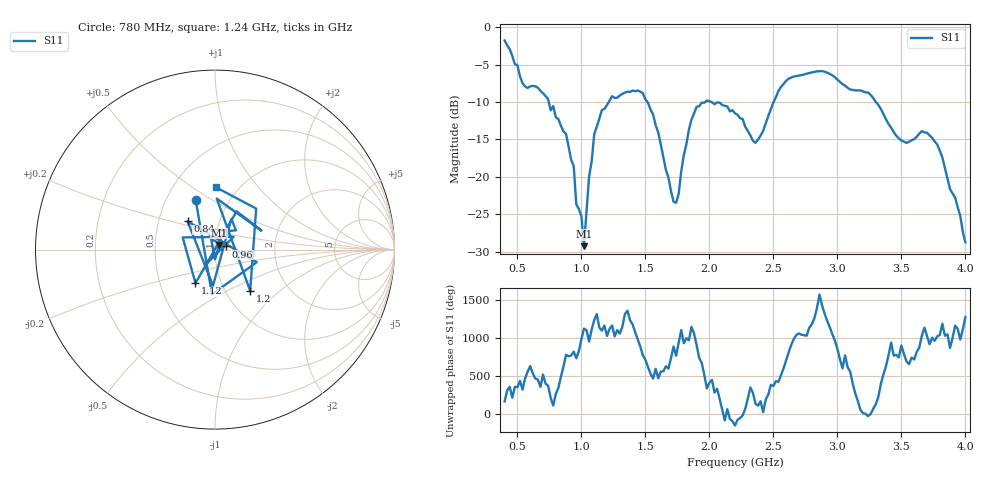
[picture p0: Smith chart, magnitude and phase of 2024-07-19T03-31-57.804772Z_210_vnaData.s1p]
!Created with skrf (http://scikit-rf.org).
# Hz S RI R 50.0
!freq ReS11 ImS11
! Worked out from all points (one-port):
!   181 points, 400 MHz to 4 GHz, reference 50 ohm
!   lowest |S11| = -29.3 dB at 1.02 GHz (marker M1), VSWR 1.07, Z = 52.3 + j2.67 ohm
!   |S11| at or under -10 dB: 744.9 MHz to 1.213 GHz (468.2 MHz wide, 47.8 % of centre); 2.015 GHz to 2.502 GHz (486.5 MHz wide, 21.5 % of centre); 3.301 GHz to end of sweep (the widest 3 of 4)
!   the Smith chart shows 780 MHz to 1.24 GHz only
!   S11 on the Smith chart (normalised r, x): 780 MHz: 0.70, +0.42; 840 MHz: 0.70, +0.23; 960 MHz: 1.13, +0.04; 1.12 GHz: 0.75, -0.30; 1.2 GHz: 1.30, -0.66; 1.24 GHz: 0.80, +0.63
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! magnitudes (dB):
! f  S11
! 400 MHz  -1.8
! 540 MHz  -7.5
! 780 MHz  -10.5
! 840 MHz  -13.2
! 860 MHz  -13.9
! 940 MHz  -18.6
! 960 MHz  -23.7
! 1 GHz  -25.3
! 1.02 GHz  -29.3
! 1.06 GHz  -20.0
! 1.12 GHz  -13.3
! 1.2 GHz  -10.4
! 1.24 GHz  -9.2
! 1.3 GHz  -9.1
! 1.48 GHz  -8.8
! 1.6 GHz  -14.1
! 1.72 GHz  -23.3
! 1.76 GHz  -22.3
! 1.84 GHz  -13.7
! 1.9 GHz  -10.6
! 2.2 GHz  -11.5
! 2.36 GHz  -15.5
! 2.66 GHz  -6.6
! 3.1 GHz  -8.3
! 3.24 GHz  -8.7
! 3.56 GHz  -15.3
! 3.78 GHz  -15.7
! 4 GHz  -28.8
